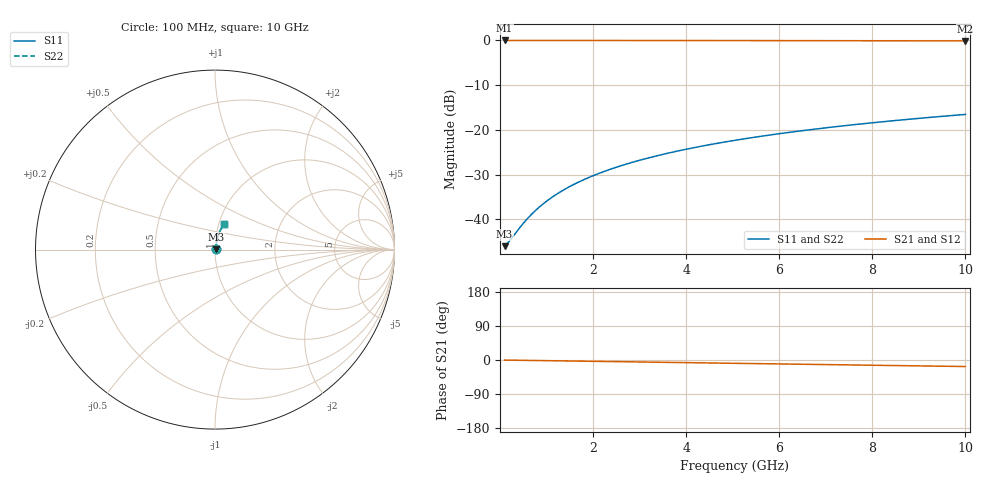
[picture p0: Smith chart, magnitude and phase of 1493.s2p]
# Hz S RI R 50.00
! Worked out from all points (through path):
!   100 points, 100 MHz to 10 GHz, reference 50 ohm
!   highest |S21| = -0.04 dB at 100 MHz (marker M1); lowest = -0.1 dB at 10 GHz (marker M2)
!   group delay of S21, straight-line fit = 4.79 ps
!   lowest |S11| = -46.0 dB at 100 MHz (marker M3), VSWR 1.01, Z = 50.5 + j0.152 ohm
!   |S11| at or under -10 dB: start of sweep to end of sweep
!   |S22| runs from -46.0 to -16.6 dB; largest |S21 - S12| = 0
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1e8  0.00481 0.00151  0.9952 -0.00301  0.9952 -0.00301  0.00481 0.00151
2e8  0.00485 0.00301  0.9951 -0.00602  0.9951 -0.00602  0.00485 0.00301
4e8  0.00495 0.00602  0.995 -0.012  0.995 -0.012  0.00495 0.00602
5e8  0.005 0.00752  0.995 -0.0151  0.995 -0.0151  0.005 0.00752
6e8  0.00507 0.00903  0.9949 -0.0181  0.9949 -0.0181  0.00507 0.00903
7e8  0.00514 0.0105  0.9948 -0.0211  0.9948 -0.0211  0.00514 0.0105
9e8  0.00531 0.0135  0.9946 -0.0271  0.9946 -0.0271  0.00531 0.0135
1.1e9  0.00551 0.0165  0.9943 -0.0331  0.9943 -0.0331  0.00551 0.0165
1.3e9  0.00574 0.0195  0.994 -0.0391  0.994 -0.0391  0.00574 0.0195
1.5e9  0.00601 0.0225  0.9937 -0.0451  0.9937 -0.0451  0.00601 0.0225
1.8e9  0.00648 0.027  0.9931 -0.0541  0.9931 -0.0541  0.00648 0.027
2.1e9  0.00703 0.0315  0.9924 -0.0631  0.9924 -0.0631  0.00703 0.0315
2.5e9  0.00789 0.0374  0.9914 -0.0751  0.9914 -0.0751  0.00789 0.0374
2.9e9  0.00889 0.0434  0.9901 -0.087  0.9901 -0.087  0.00889 0.0434
3.4e9  0.0103 0.0507  0.9883 -0.1019  0.9883 -0.1019  0.0103 0.0507
4.2e9  0.0131 0.0624  0.9848 -0.1257  0.9848 -0.1257  0.0131 0.0624
5.1e9  0.0169 0.0753  0.9801 -0.1522  0.9801 -0.1522  0.0169 0.0753
5.9e9  0.0208 0.0866  0.9751 -0.1755  0.9751 -0.1755  0.0208 0.0866
6.7e9  0.0253 0.0977  0.9695 -0.1987  0.9695 -0.1987  0.0253 0.0977
7.5e9  0.0303 0.1085  0.9632 -0.2216  0.9632 -0.2216  0.0303 0.1085
8.4e9  0.0365 0.1204  0.9553 -0.247  0.9553 -0.247  0.0365 0.1204
1e10  0.049 0.1404  0.9394 -0.2913  0.9394 -0.2913  0.049 0.1404
